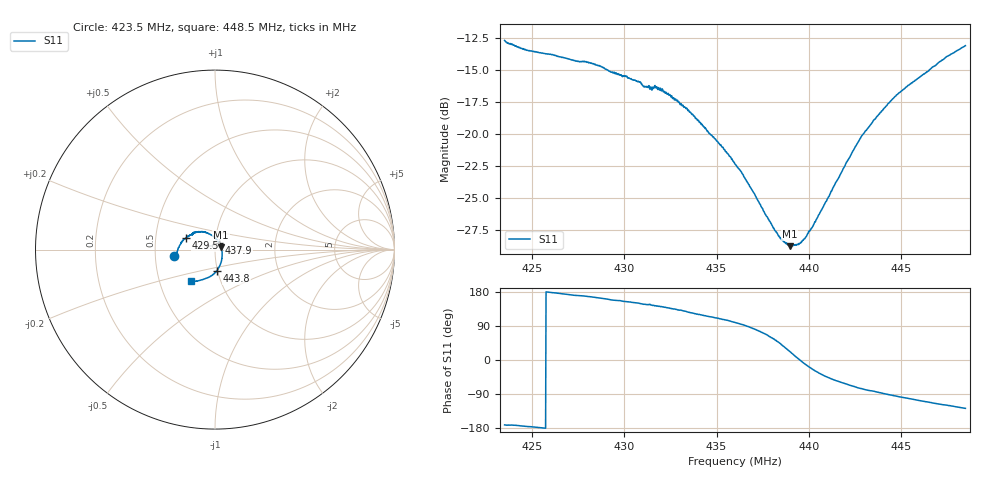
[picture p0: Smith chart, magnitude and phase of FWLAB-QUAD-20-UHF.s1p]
! NanoVNA-App
! Date: 2025-10-15 16:46:44
! Start: 423,5MHz Stop: 448,5MHz Points: 1024
! S-Parameter data: F S11
# Hz S RI R 50
!  Frequency  S11_Real  S11_Imag
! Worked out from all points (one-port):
!   1024 points, 423.5 MHz to 448.5 MHz, reference 50 ohm
!   lowest |S11| = -28.8 dB at 439 MHz (marker M1), VSWR 1.08, Z = 53.5 + j1.52 ohm
!   |S11| at or under -10 dB: start of sweep to end of sweep
!   S11 on the Smith chart (normalised r, x): 423.5 MHz: 0.62, -0.05; 429.5 MHz: 0.72, +0.10; 437.9 MHz: 1.04, +0.08; 443.8 MHz: 0.99, -0.24; 448.5 MHz: 0.72, -0.27
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4.235e8  -0.2301 -0.0355
4.246975e8  -0.2121 -0.0172
4.266281e8  -0.199 0.0182
4.282165e8  -0.1848 0.0444
4.294629e8  -0.1609 0.0659
4.297561e8  -0.1568 0.067
4.307581e8  -0.1397 0.0803
4.311491e8  -0.1283 0.0839
4.314912e8  -0.1218 0.0854
4.3176e8  -0.1205 0.0946
4.328842e8  -0.0912 0.1007
4.336906e8  -0.0666 0.0995
4.349614e8  -0.0342 0.0888
4.360122e8  -0.012 0.0753
4.364521e8  -0.00309 0.0692
4.379428e8  0.0226 0.0387
4.384804e8  0.0289 0.0265
4.389692e8  0.0336 0.0142
4.391403e8  0.0353 0.0097
4.396046e8  0.038 -0.00203
4.401422e8  0.0397 -0.0162
4.422683e8  0.0321 -0.076
4.428548e8  0.0246 -0.095
4.437835e8  0.01 -0.1189
4.446388e8  -0.0106 -0.1391
4.453964e8  -0.0302 -0.1525
4.474736e8  -0.0976 -0.1758
4.485e8  -0.1355 -0.176
